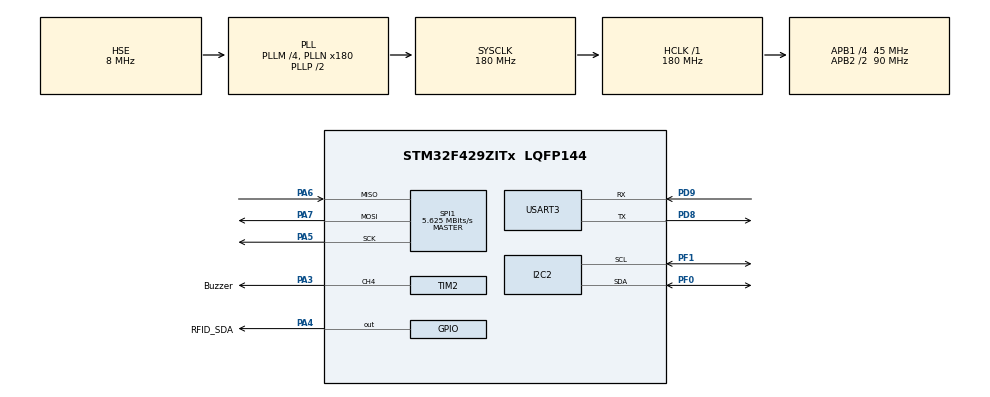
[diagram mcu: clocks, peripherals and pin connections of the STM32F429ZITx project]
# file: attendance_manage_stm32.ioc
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FREERTOS.Tasks01=defaultTask,0,128,StartDefaultTask,Default,NULL,Dynamic,NULL,NULL;uart_rx_Task,-3,128,Start_uart_rx_Task,Default,NULL,Dynamic,NULL,NULL;lcd_Task,-3,128,Start_lcd_Task,Default,NULL,Dynamic,NULL,NULL;rfid_Task,-3,128,Start_rfid_Task,Default,NULL,Dynamic,NULL,NULL;inout_Task,-3,128,Start_inout_Task,Default,NULL,Dynamic,NULL,NULL
Mcu.Family=STM32F4
Mcu.Name=STM32F429ZITx
Mcu.Package=LQFP144
NVIC.PriorityGroup=NVIC_PRIORITYGROUP_4
NVIC.TIM6_DAC_IRQn=true\:0\:0\:false\:false\:true\:false\:false\:true
NVIC.TimeBase=TIM6_DAC_IRQn
NVIC.TimeBaseIP=TIM6
NVIC.USART3_IRQn=true\:5\:0\:false\:false\:true\:true\:true\:true
PA13.Mode=Serial_Wire
PA13.Signal=SYS_JTMS-SWDIO
PA14.Mode=Serial_Wire
PA14.Signal=SYS_JTCK-SWCLK
PA3.GPIO_Label=Buzzer
PA3.Signal=S_TIM2_CH4
PA4.GPIO_Label=RFID_SDA
PA4.GPIO_PuPd=GPIO_PULLUP
PA4.GPIO_Speed=GPIO_SPEED_FREQ_VERY_HIGH
PA4.Signal=GPIO_Output
PA5.Mode=Full_Duplex_Master
PA5.Signal=SPI1_SCK
PA6.Mode=Full_Duplex_Master
PA6.Signal=SPI1_MISO
PA7.Mode=Full_Duplex_Master
PA7.Signal=SPI1_MOSI
PD8.Mode=Asynchronous
PD8.Signal=USART3_TX
PD9.Mode=Asynchronous
PD9.Signal=USART3_RX
PF0.Mode=I2C
PF0.Signal=I2C2_SDA
PF1.Mode=I2C
PF1.Signal=I2C2_SCL
PH0/OSC_IN.Mode=HSE-External-Oscillator
PH0/OSC_IN.Signal=RCC_OSC_IN
PH1/OSC_OUT.Mode=HSE-External-Oscillator
PH1/OSC_OUT.Signal=RCC_OSC_OUT
ProjectManager.HeapSize=0x200
ProjectManager.StackSize=0x400
ProjectManager.TargetToolchain=TrueSTUDIO
RCC.48MHZClocksFreq_Value=90000000
RCC.AHBFreq_Value=180000000
RCC.APB1CLKDivider=RCC_HCLK_DIV4
RCC.APB1Freq_Value=45000000
RCC.APB1TimFreq_Value=90000000
RCC.APB2CLKDivider=RCC_HCLK_DIV2
RCC.APB2Freq_Value=90000000
RCC.APB2TimFreq_Value=180000000
RCC.CortexFreq_Value=180000000
RCC.HCLKFreq_Value=180000000
RCC.HSE_VALUE=8000000
RCC.HSI_VALUE=16000000
RCC.LSE_VALUE=32768
RCC.PLLM=4
RCC.PLLN=180
RCC.PLLSourceVirtual=RCC_PLLSOURCE_HSE
RCC.SYSCLKFreq_VALUE=180000000
RCC.SYSCLKSource=RCC_SYSCLKSOURCE_PLLCLK
RCC.VCOOutputFreq_Value=360000000
SH.S_TIM2_CH4.0=TIM2_CH4,PWM Generation4 CH4
SPI1.BaudRatePrescaler=SPI_BAUDRATEPRESCALER_16
SPI1.CalculateBaudRate=5.625 MBits/s
SPI1.Direction=SPI_DIRECTION_2LINES
SPI1.Mode=SPI_MODE_MASTER
SPI1.VirtualType=VM_MASTER
TIM2.Channel-PWM\ Generation4\ CH4=TIM_CHANNEL_4
TIM2.Period=500-1
TIM2.Prescaler=180-1
TIM2.Pulse-PWM\ Generation4\ CH4=450-1
USART3.VirtualMode=VM_ASYNC
VP_FREERTOS_VS_CMSIS_V1.Mode=CMSIS_V1
VP_SYS_VS_tim6.Mode=TIM6
board=custom

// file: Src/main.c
/* USER CODE BEGIN Header */
/**
  ******************************************************************************
  * @file           : main.c
  * @brief          : Main program body
  ******************************************************************************
  * @attention
  *
  * <h2><center>&copy; Copyright (c) 2019 STMicroelectronics.
  * All rights reserved.</center></h2>
  *
  * This software component is licensed by ST under Ultimate Liberty license
  * SLA0044, the "License"; You may not use this file except in compliance with
  * the License. You may obtain a copy of the License at:
  *                             www.st.com/SLA0044
  *
  ******************************************************************************
  */
/* USER CODE END Header */

#include "main.h"
#include "cmsis_os.h"

/* USER CODE BEGIN Includes */
#include "I2C_LCD.h"
#include "rc522.h"
#include <stdio.h>
#include <string.h>
/* USER CODE END Includes */

I2C_HandleTypeDef hi2c2;

SPI_HandleTypeDef hspi1;

TIM_HandleTypeDef htim2;

UART_HandleTypeDef huart3;

osThreadId defaultTaskHandle;
osThreadId uart_rx_TaskHandle;
osThreadId lcd_TaskHandle;
osThreadId rfid_TaskHandle;
osThreadId inout_TaskHandle;
/* USER CODE BEGIN PV */
/* Private variables ---------------------------------------------------------*/
enum {NO, YES}flag_val;

//UART variables
uint8_t rx_data = 0;
char rx_str[20] = {0, };
uint8_t rx_flag = 0;

//LCD variables.
uint8_t lcd_id_flag = 0;

//RFID variables
uint8_t rfid_read_flag = 0;
unsigned char card_id[14] = {0, };			//Card_id String(xx-xx-xx-xx-xx)
unsigned char card_id_buff[5] = {0, };		//card_id in RFID Function.

//in/out time check variables
uint8_t in_out_flag = NO;

/* USER CODE END PV */

void SystemClock_Config(void);
static void MX_GPIO_Init(void);
static void MX_USART3_UART_Init(void);
static void MX_SPI1_Init(void);
static void MX_I2C2_Init(void);
static void MX_TIM2_Init(void);
void StartDefaultTask(void const * argument);
void Start_uart_rx_Task(void const * argument);
void Start_lcd_Task(void const * argument);
void Start_rfid_Task(void const * argument);
void Start_inout_Task(void const * argument);

/* USER CODE BEGIN PFP */
/* Private function prototypes -----------------------------------------------*/

//RFID functions.
uint8_t MFRC522_Check(uint8_t* id);
uint8_t MFRC522_Compare(uint8_t* CardID, uint8_t* CompareID);
void MFRC522_WriteRegister(uint8_t addr, uint8_t val);
uint8_t MFRC522_ReadRegister(uint8_t addr);
void MFRC522_SetBitMask(uint8_t reg, uint8_t mask);
void MFRC522_ClearBitMask(uint8_t reg, uint8_t mask);
uint8_t MFRC522_Request(uint8_t reqMode, uint8_t* TagType);
uint8_t MFRC522_ToCard(uint8_t command, uint8_t* sendData, uint8_t sendLen, uint8_t* backData, uint16_t* backLen);
uint8_t MFRC522_Anticoll(uint8_t* serNum);
void MFRC522_CalulateCRC(uint8_t* pIndata, uint8_t len, uint8_t* pOutData);
uint8_t MFRC522_SelectTag(uint8_t* serNum);
uint8_t MFRC522_Auth(uint8_t authMode, uint8_t BlockAddr, uint8_t* Sectorkey, uint8_t* serNum);
uint8_t MFRC522_Read(uint8_t blockAddr, uint8_t* recvData);
uint8_t MFRC522_Write(uint8_t blockAddr, uint8_t* writeData);
void MFRC522_Init(void);
void MFRC522_Reset(void);
void MFRC522_AntennaOn(void);
void MFRC522_AntennaOff(void);
void MFRC522_Halt(void);

//UART function.
void HAL_UART_RxCpltCallback(UART_HandleTypeDef *huart)
{
	static uint8_t rx_head = 0;

	if(huart->Instance == USART3){
		if(rx_data == '\r' || rx_data == '\n'){
			rx_str[rx_head] = '\0';
			rx_head = 0;
			rx_flag = YES;
		}
		else{
			rx_str[rx_head] = rx_data;
			rx_head++;
		}
	}
	HAL_UART_Receive_IT(&huart3, &rx_data, 1);
}

void rx_str_reset(void){
	for(int i = 0; i < 20; i++){
		rx_str[i] = '\0';
	}
}
/* USER CODE END PFP */

int main(void)
{

  /* MCU Configuration--------------------------------------------------------*/

  /* Reset of all peripherals, Initializes the Flash interface and the Systick. */
  HAL_Init();

  /* Configure the system clock */
  SystemClock_Config();

  /* Initialize all configured peripherals */
  MX_GPIO_Init();
  MX_USART3_UART_Init();
  MX_SPI1_Init();
  MX_I2C2_Init();
  MX_TIM2_Init();
  /* USER CODE BEGIN 2 */
  I2C_LCD_init();
  I2C_LCD_write_string_XY(0, 0, "-- Tag your Card");

  MFRC522_Init();

  HAL_UART_Receive_IT(&huart3, &rx_data, 1);
  /* USER CODE END 2 */

  /* Create the thread(s) */
  /* definition and creation of defaultTask */
  osThreadDef(defaultTask, StartDefaultTask, osPriorityNormal, 0, 128);
  defaultTaskHandle = osThreadCreate(osThread(defaultTask), NULL);

  /* definition and creation of uart_rx_Task */
  osThreadDef(uart_rx_Task, Start_uart_rx_Task, osPriorityIdle, 0, 128);
  uart_rx_TaskHandle = osThreadCreate(osThread(uart_rx_Task), NULL);

  /* definition and creation of lcd_Task */
  osThreadDef(lcd_Task, Start_lcd_Task, osPriorityIdle, 0, 128);
  lcd_TaskHandle = osThreadCreate(osThread(lcd_Task), NULL);

  /* definition and creation of rfid_Task */
  osThreadDef(rfid_Task, Start_rfid_Task, osPriorityIdle, 0, 128);
  rfid_TaskHandle = osThreadCreate(osThread(rfid_Task), NULL);

  /* definition and creation of inout_Task */
  osThreadDef(inout_Task, Start_inout_Task, osPriorityIdle, 0, 128);
  inout_TaskHandle = osThreadCreate(osThread(inout_Task), NULL);

  /* Start scheduler */
  osKernelStart();

  /* We should never get here as control is now taken by the scheduler */

  /* Infinite loop */
  while (1)
  {

  }
}

void SystemClock_Config(void)
{
  RCC_OscInitTypeDef RCC_OscInitStruct = {0};
  RCC_ClkInitTypeDef RCC_ClkInitStruct = {0};

  /** Configure the main internal regulator output voltage
  */
  __HAL_RCC_PWR_CLK_ENABLE();
  __HAL_PWR_VOLTAGESCALING_CONFIG(PWR_REGULATOR_VOLTAGE_SCALE1);
  /** Initializes the CPU, AHB and APB busses clocks
  */
  RCC_OscInitStruct.OscillatorType = RCC_OSCILLATORTYPE_HSE;
  RCC_OscInitStruct.HSEState = RCC_HSE_ON;
  RCC_OscInitStruct.PLL.PLLState = RCC_PLL_ON;
  RCC_OscInitStruct.PLL.PLLSource = RCC_PLLSOURCE_HSE;
  RCC_OscInitStruct.PLL.PLLM = 4;
  RCC_OscInitStruct.PLL.PLLN = 180;
  RCC_OscInitStruct.PLL.PLLP = RCC_PLLP_DIV2;
  RCC_OscInitStruct.PLL.PLLQ = 4;
  if (HAL_RCC_OscConfig(&RCC_OscInitStruct) != HAL_OK)
  {
    Error_Handler();
  }
  /** Activate the Over-Drive mode
  */
  if (HAL_PWREx_EnableOverDrive() != HAL_OK)
  {
    Error_Handler();
  }
  /** Initializes the CPU, AHB and APB busses clocks
  */
  RCC_ClkInitStruct.ClockType = RCC_CLOCKTYPE_HCLK|RCC_CLOCKTYPE_SYSCLK
                              |RCC_CLOCKTYPE_PCLK1|RCC_CLOCKTYPE_PCLK2;
  RCC_ClkInitStruct.SYSCLKSource = RCC_SYSCLKSOURCE_PLLCLK;
  RCC_ClkInitStruct.AHBCLKDivider = RCC_SYSCLK_DIV1;
  RCC_ClkInitStruct.APB1CLKDivider = RCC_HCLK_DIV4;
  RCC_ClkInitStruct.APB2CLKDivider = RCC_HCLK_DIV2;

  if (HAL_RCC_ClockConfig(&RCC_ClkInitStruct, FLASH_LATENCY_5) != HAL_OK)
  {
    Error_Handler();
  }
}

static void MX_I2C2_Init(void)
{

  hi2c2.Instance = I2C2;
  hi2c2.Init.ClockSpeed = 100000;
  hi2c2.Init.DutyCycle = I2C_DUTYCYCLE_2;
  hi2c2.Init.OwnAddress1 = 0;
  hi2c2.Init.AddressingMode = I2C_ADDRESSINGMODE_7BIT;
  hi2c2.Init.DualAddressMode = I2C_DUALADDRESS_DISABLE;
  hi2c2.Init.OwnAddress2 = 0;
  hi2c2.Init.GeneralCallMode = I2C_GENERALCALL_DISABLE;
  hi2c2.Init.NoStretchMode = I2C_NOSTRETCH_DISABLE;
  if (HAL_I2C_Init(&hi2c2) != HAL_OK)
  {
    Error_Handler();
  }
  /** Configure Analogue filter
  */
  if (HAL_I2CEx_ConfigAnalogFilter(&hi2c2, I2C_ANALOGFILTER_ENABLE) != HAL_OK)
  {
    Error_Handler();
  }
  /** Configure Digital filter
  */
  if (HAL_I2CEx_ConfigDigitalFilter(&hi2c2, 0) != HAL_OK)
  {
    Error_Handler();
  }

}

static void MX_SPI1_Init(void)
{

  /* SPI1 parameter configuration*/
  hspi1.Instance = SPI1;
  hspi1.Init.Mode = SPI_MODE_MASTER;
  hspi1.Init.Direction = SPI_DIRECTION_2LINES;
  hspi1.Init.DataSize = SPI_DATASIZE_8BIT;
  hspi1.Init.CLKPolarity = SPI_POLARITY_LOW;
  hspi1.Init.CLKPhase = SPI_PHASE_1EDGE;
  hspi1.Init.NSS = SPI_NSS_SOFT;
  hspi1.Init.BaudRatePrescaler = SPI_BAUDRATEPRESCALER_16;
  hspi1.Init.FirstBit = SPI_FIRSTBIT_MSB;
  hspi1.Init.TIMode = SPI_TIMODE_DISABLE;
  hspi1.Init.CRCCalculation = SPI_CRCCALCULATION_DISABLE;
  hspi1.Init.CRCPolynomial = 10;
  if (HAL_SPI_Init(&hspi1) != HAL_OK)
  {
    Error_Handler();
  }

}

static void MX_TIM2_Init(void)
{

  TIM_MasterConfigTypeDef sMasterConfig = {0};
  TIM_OC_InitTypeDef sConfigOC = {0};

  htim2.Instance = TIM2;
  htim2.Init.Prescaler = 180-1;
  htim2.Init.CounterMode = TIM_COUNTERMODE_UP;
  htim2.Init.Period = 500-1;
  htim2.Init.ClockDivision = TIM_CLOCKDIVISION_DIV1;
  htim2.Init.AutoReloadPreload = TIM_AUTORELOAD_PRELOAD_DISABLE;
  if (HAL_TIM_PWM_Init(&htim2) != HAL_OK)
  {
    Error_Handler();
  }
  sMasterConfig.MasterOutputTrigger = TIM_TRGO_RESET;
  sMasterConfig.MasterSlaveMode = TIM_MASTERSLAVEMODE_DISABLE;
  if (HAL_TIMEx_MasterConfigSynchronization(&htim2, &sMasterConfig) != HAL_OK)
  {
    Error_Handler();
  }
  sConfigOC.OCMode = TIM_OCMODE_PWM1;
  sConfigOC.Pulse = 450-1;
  sConfigOC.OCPolarity = TIM_OCPOLARITY_HIGH;
  sConfigOC.OCFastMode = TIM_OCFAST_DISABLE;
  if (HAL_TIM_PWM_ConfigChannel(&htim2, &sConfigOC, TIM_CHANNEL_4) != HAL_OK)
  {
    Error_Handler();
  }
  HAL_TIM_MspPostInit(&htim2);

}

static void MX_USART3_UART_Init(void)
{

  huart3.Instance = USART3;
  huart3.Init.BaudRate = 115200;
  huart3.Init.WordLength = UART_WORDLENGTH_8B;
  huart3.Init.StopBits = UART_STOPBITS_1;
  huart3.Init.Parity = UART_PARITY_NONE;
  huart3.Init.Mode = UART_MODE_TX_RX;
  huart3.Init.HwFlowCtl = UART_HWCONTROL_NONE;
  huart3.Init.OverSampling = UART_OVERSAMPLING_16;
  if (HAL_UART_Init(&huart3) != HAL_OK)
  {
    Error_Handler();
  }

}

static void MX_GPIO_Init(void)
{
  GPIO_InitTypeDef GPIO_InitStruct = {0};

  /* GPIO Ports Clock Enable */
  __HAL_RCC_GPIOF_CLK_ENABLE();
  __HAL_RCC_GPIOH_CLK_ENABLE();
  __HAL_RCC_GPIOA_CLK_ENABLE();
  __HAL_RCC_GPIOD_CLK_ENABLE();

  /*Configure GPIO pin Output Level */
  HAL_GPIO_WritePin(RFID_SDA_GPIO_Port, RFID_SDA_Pin, GPIO_PIN_RESET);

  /*Configure GPIO pin : RFID_SDA_Pin */
  GPIO_InitStruct.Pin = RFID_SDA_Pin;
  GPIO_InitStruct.Mode = GPIO_MODE_OUTPUT_PP;
  GPIO_InitStruct.Pull = GPIO_PULLUP;
  GPIO_InitStruct.Speed = GPIO_SPEED_FREQ_VERY_HIGH;
  HAL_GPIO_Init(RFID_SDA_GPIO_Port, &GPIO_InitStruct);

}

void StartDefaultTask(void const * argument)
{

	for (;;)
	{
		osDelay(1);
	}
}

void Start_uart_rx_Task(void const * argument)
{
  /* USER CODE BEGIN Start_uart_rx_Task */
	/* Infinite loop */
	for (;;)
	{
		//end UART Receive.
		if (rx_flag == YES){
			//receive "rfid" --> request rfid card id from QT program.
			if(strcmp(rx_str, "rfid") == 0){
				rfid_read_flag = YES;
			}
			//cancel rfid tag.
			if(strcmp(rx_str, "rfid_cancel") == 0){
				rfid_read_flag = NO;
			}
			//check start clock in time.
			if(strcmp(rx_str, "in_time") == 0){
				in_out_flag = YES;
			}
			printf("%s\n", rx_str);
			rx_str_reset();
			rx_flag = NO;
		}
		osDelay(1);
	}
  /* USER CODE END Start_uart_rx_Task */
}

void Start_lcd_Task(void const * argument)
{
  /* USER CODE BEGIN Start_lcd_Task */
  /* Infinite loop */
  for(;;)
  {
	  //printf("lcd_id_flag : %d\n", lcd_id_flag);
	if(lcd_id_flag == YES){		//When RFID card is tagged,
		I2C_LCD_write_string_XY(1, 0, card_id);
		osDelay(300);
		I2C_LCD_write_string_XY(1, 0, "              ");
		lcd_id_flag = NO;
	}
    osDelay(1);
  }
  /* USER CODE END Start_lcd_Task */
}

void Start_rfid_Task(void const * argument)
{
  /* USER CODE BEGIN Start_rfid_Task */
  /* Infinite loop */
  for(;;)
  {
	  if(rfid_read_flag == YES){
		  if(MFRC522_Check(card_id_buff) == MI_OK){
			  sprintf(card_id, "%02X-%02X-%02X-%02X-%02X", card_id_buff[0], card_id_buff[1], card_id_buff[2], card_id_buff[3], card_id_buff[4]);
			  printf("%s\n", card_id);		//send card id to Qt.
			  lcd_id_flag = YES;		//print card id on LCD.
			  rfid_read_flag = NO;
			  HAL_TIM_PWM_Start(&htim2, TIM_CHANNEL_4);
			  osDelay(50);
			  HAL_TIM_PWM_Stop(&htim2, TIM_CHANNEL_4);
			  osDelay(950);
		  }
	  }
    osDelay(1);
  }
  /* USER CODE END Start_rfid_Task */
}

void Start_inout_Task(void const * argument)
{
  /* USER CODE BEGIN Start_inout_Task */
  /* Infinite loop */
  for(;;)
  {
	  if(in_out_flag == YES){
		  if(MFRC522_Check(card_id_buff) == MI_OK){
			  sprintf(card_id, "%02X-%02X-%02X-%02X-%02X", card_id_buff[0], card_id_buff[1], card_id_buff[2], card_id_buff[3], card_id_buff[4]);
			  printf("in:%s\n", card_id);		//send card id to Qt.
			  lcd_id_flag = YES;		//print card id on LCD.
			  HAL_TIM_PWM_Start(&htim2, TIM_CHANNEL_4);
			  osDelay(50);
			  HAL_TIM_PWM_Stop(&htim2, TIM_CHANNEL_4);
			  osDelay(950);
		  }
	  }
    osDelay(1);
  }
  /* USER CODE END Start_inout_Task */
}

void HAL_TIM_PeriodElapsedCallback(TIM_HandleTypeDef *htim)
{
  if (htim->Instance == TIM6) {
    HAL_IncTick();
  }
}

void Error_Handler(void)
{
  while(1)
  {
  }
}

/************************ (C) COPYRIGHT STMicroelectronics *****END OF FILE****/
